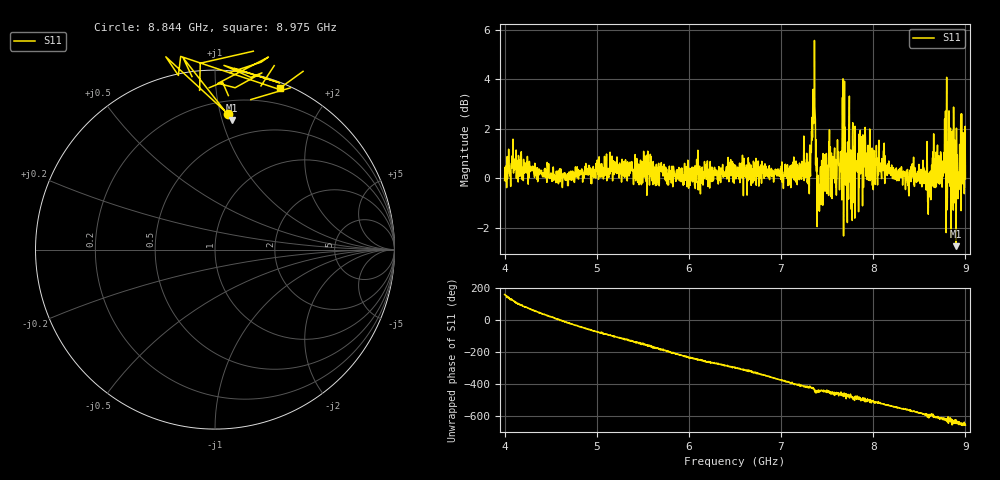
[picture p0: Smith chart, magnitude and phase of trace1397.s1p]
! Created with skrf 1.8.0 (http://scikit-rf.org).
# Hz S RI R 50.0
!freq ReS11 ImS11
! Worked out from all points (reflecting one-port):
!   1601 points, 4 GHz to 9 GHz, reference 50 ohm
!   lowest |S11| = -2.8 dB at 8.9 GHz (marker M1), VSWR 6.36, Z = 17.5 + j53.8 ohm
!   phase of S11 starts at 160 deg and turns -813 deg over the sweep
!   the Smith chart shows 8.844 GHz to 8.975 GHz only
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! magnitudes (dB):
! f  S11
! 4 GHz  -0.1
! 4.1 GHz  0.8
! 4.625 GHz  -0.4
! 5.25 GHz  0.6
! 5.875 GHz  0.0
! 6.5 GHz  0.2
! 7.125 GHz  0.2
! 7.294 GHz  0.1
! 7.347 GHz  3.6
! 7.362 GHz  5.6
! 7.397 GHz  -1.2
! 7.409 GHz  -0.7
! 7.512 GHz  0.5
! 7.619 GHz  1.1
! 7.669 GHz  2.0
! 7.688 GHz  3.9
! 7.703 GHz  0.8
! 7.75 GHz  0.1
! 7.891 GHz  0.6
! 8.375 GHz  -0.2
! 8.562 GHz  0.2
! 8.612 GHz  0.2
! 8.656 GHz  1.8
! 8.725 GHz  0.4
! 8.816 GHz  -0.2
! 8.9 GHz  -2.8
! 8.972 GHz  0.9
! 9 GHz  0.0
